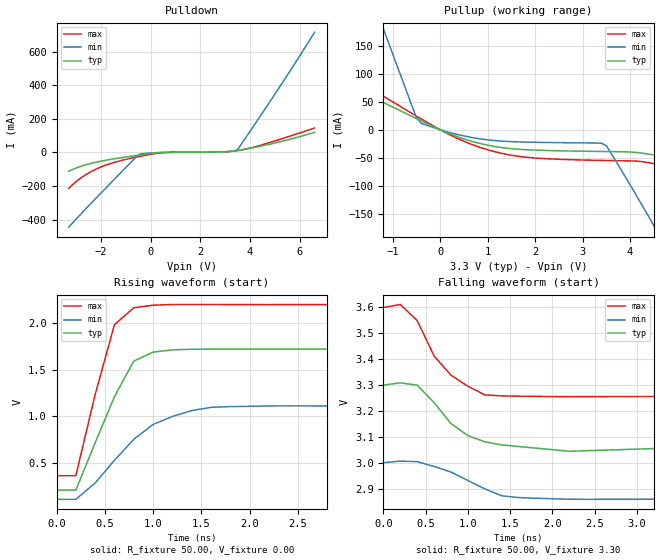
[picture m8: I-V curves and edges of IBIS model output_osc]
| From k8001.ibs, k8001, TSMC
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|   Model output_osc
[Model]   output_osc
Model_type   Output
Polarity   Non-Inverting
Vmeas =  1.50V
C_comp   4.19e-13F   4.52e-13F   4.08e-13F
[Temperature Range]   25   125   0
[Voltage Range]   3.30V   3.00V   3.60V
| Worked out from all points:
|   slope of the pulldown table from 0 to 0.495 V, typ, clamps not added: 77.8 ohm
|   slope of the pullup table from 0 to 0.495 V, typ, clamps not added: 30.2 ohm
|   rising waveform, R_fixture 50.00, V_fixture 0.00: 20-80 % time 390ps typ, 576ps min, 275ps max; typ from 0.205 V to 1.72 V
|   falling waveform, R_fixture 50.00, V_fixture 3.30: 20-80 % time 482ps typ, 563ps min, 437ps max; typ from 3.3 V to 3.05 V
[Pullup]
| voltage   I(typ)   I(min)   I(max)
-3.3V     141.8mA    670mA      171.1mA
-1.3V     52.57mA    203.2mA    64.78mA
-1.2V     48.53mA    180.4mA    59.79mA
-500mV    19.94mA    20.62mA    24.07mA
-400mV    15.91mA    11.61mA    19.21mA
1.2V      -30.78mA   -19.79mA   -40.44mA
3.4V      -38.92mA   -24.08mA   -54.91mA
3.5V      -39.02mA   -28.44mA   -55.07mA
4.6V      -46.72mA   -185.9mA   -62.73mA
5.8V      -84.25mA   -374.7mA   -109.1mA
6.5V      -148.2mA   -511.5mA   -187.2mA
6.6V      -162.2mA   -534mA     -204.4mA
[Pulldown]
| voltage   I(typ)   I(min)   I(max)
-3.3V     -110.6mA   -444.1mA   -212.7mA
-2.8V     -81.72mA   -363.6mA   -150.3mA
-2.2V     -57.7mA    -271mA     -98.77mA
-1.5V     -38.24mA   -164.8mA   -60.29mA
-500mV    -16.11mA   -13.62mA   -24.53mA
-300mV    -11.95mA   -6.463mA   -19mA
600mV     1.021mA    523.7uA    -278uA
2.8V      3.459mA    2.458mA    4.006mA
3.4V      10.25mA    9.746mA    9.193mA
3.5V      12.36mA    17.61mA    11.26mA
4.5V      39.92mA    235.7mA    46.39mA
6.6V      120mA      714.8mA    145.8mA
[Ramp]
| variable   typ   min   max
dV/dt_r   1.03/4.15e-10   0.67/6.19e-10   1.32/2.96e-10
dV/dt_f   0.16/5.04e-10   0.09/5.87e-10   0.21/4.31e-10
R_load = 50.00
[Rising Waveform]
R_fixture = 50.00
V_fixture = 0.00
V_fixture_min = 0.00
V_fixture_max = 0.00
| time   V(typ)   V(min)   V(max)
0s        205.1mV    106.1mV    360.9mV
200ps     205.1mV    106.1mV    360.9mV
400ps     714.4mV    281.4mV    1.234V
600ps     1.212V     527.3mV    1.987V
800ps     1.595V     751.9mV    2.169V
1ns       1.691V     912.7mV    2.197V
1.2ns     1.716V     998.8mV    2.204V
1.4ns     1.722V     1.062V     2.204V
1.8ns     1.724V     1.105V     2.204V
10ns      1.724V     1.111V     2.204V
[Falling Waveform]
R_fixture = 50.00
V_fixture = 3.30
V_fixture_min = 3.00
V_fixture_max = 3.60
| time   V(typ)   V(min)   V(max)
0s        3.3V       3V         3.6V
200ps     3.309V     3.006V     3.611V
400ps     3.3V       3.004V     3.549V
600ps     3.232V     2.986V     3.412V
800ps     3.151V     2.964V     3.338V
1ns       3.105V     2.931V     3.295V
1.2ns     3.081V     2.899V     3.262V
1.6ns     3.063V     2.865V     3.257V
2.2ns     3.044V     2.859V     3.255V
60ns      3.052V     2.858V     3.256V
